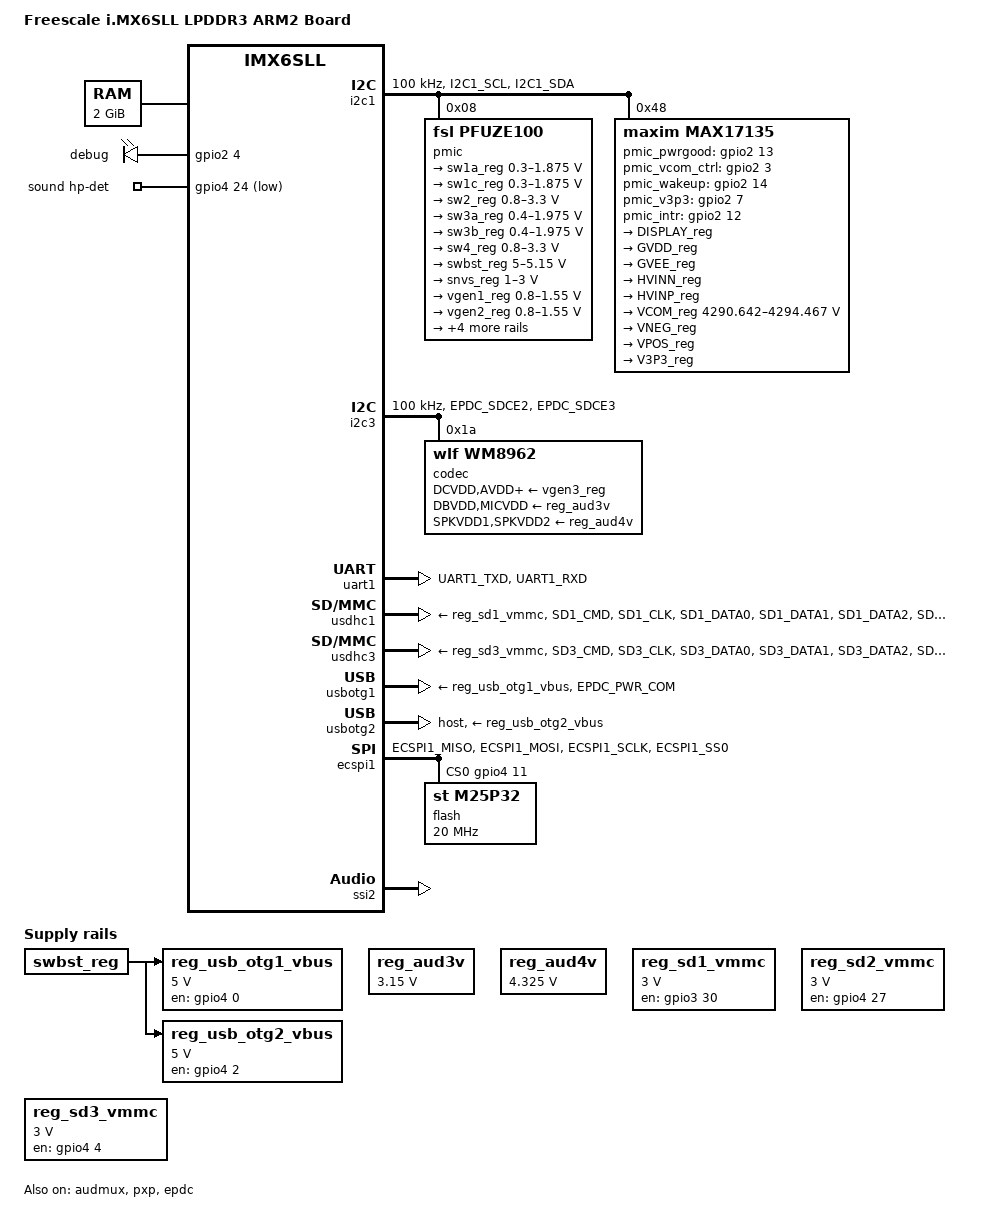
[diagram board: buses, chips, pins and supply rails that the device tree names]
/*
 * Copyright (C) 2016 Freescale Semiconductor, Inc.
 *
 * This program is free software; you can redistribute it and/or modify
 * it under the terms of the GNU General Public License version 2 as
 * published by the Free Software Foundation.
 */

/dts-v1/;

#include <dt-bindings/gpio/gpio.h>
#include <dt-bindings/input/input.h>
#include "imx6sll.dtsi"

/ {
	model = "Freescale i.MX6SLL LPDDR3 ARM2 Board";
	compatible = "fsl,imx6sll-lpddr3-arm2", "fsl,imx6sll";

	memory {
		reg = <0x80000000 0x80000000>;
	};

	leds {
		compatible = "gpio-leds";
		pinctrl-names = "default";
		pinctrl-0 = <&pinctrl_led>;

		users {
			label = "debug";
			gpios = <&gpio2 4 GPIO_ACTIVE_HIGH>;
			linux,default-trigger = "heartbeat";
		};
	};

	regulators {
		compatible = "simple-bus";
		#address-cells = <1>;
		#size-cells = <0>;

		reg_usb_otg1_vbus: regulator@0 {
			compatible = "regulator-fixed";
			reg = <0>;
			regulator-name = "usb_otg1_vbus";
			regulator-min-microvolt = <5000000>;
			regulator-max-microvolt = <5000000>;
			gpio = <&gpio4 0 GPIO_ACTIVE_HIGH>;
			enable-active-high;
			vin-supply = <&swbst_reg>;
		};

		reg_usb_otg2_vbus: regulator@1 {
			compatible = "regulator-fixed";
			reg = <1>;
			regulator-name = "usb_otg2_vbus";
			regulator-min-microvolt = <5000000>;
			regulator-max-microvolt = <5000000>;
			gpio = <&gpio4 2 GPIO_ACTIVE_HIGH>;
			enable-active-high;
			vin-supply = <&swbst_reg>;
		};

		reg_aud3v: regulator@2 {
			compatible = "regulator-fixed";
			reg = <2>;
			regulator-name = "wm8962-supply-3v15";
			regulator-min-microvolt = <3150000>;
			regulator-max-microvolt = <3150000>;
			regulator-boot-on;
		};

		reg_aud4v: regulator@3 {
			compatible = "regulator-fixed";
			reg = <3>;
			regulator-name = "wm8962-supply-4v2";
			regulator-min-microvolt = <4325000>;
			regulator-max-microvolt = <4325000>;
			regulator-boot-on;
		};

		reg_sd1_vmmc: sd1_vmmc {
			compatible = "regulator-fixed";
			regulator-name = "SD1_SPWR";
			regulator-min-microvolt = <3000000>;
			regulator-max-microvolt = <3000000>;
			gpio = <&gpio3 30 GPIO_ACTIVE_HIGH>;
			enable-active-high;
		};

		reg_sd2_vmmc: sd2_vmmc {
			compatible = "regulator-fixed";
			regulator-name = "SD2_SPWR";
			regulator-min-microvolt = <3000000>;
			regulator-max-microvolt = <3000000>;
			gpio = <&gpio4 27 GPIO_ACTIVE_HIGH>;
			enable-active-high;
		};

		reg_sd3_vmmc: sd3_vmmc {
			compatible = "regulator-fixed";
			regulator-name = "SD3_WIFI";
			regulator-min-microvolt = <3000000>;
			regulator-max-microvolt = <3000000>;
			gpio = <&gpio4 4 GPIO_ACTIVE_HIGH>;
			enable-active-high;
		};

	};

	sound {
		compatible = "fsl,imx6sl-evk-wm8962", "fsl,imx-audio-wm8962";
		model = "wm8962-audio";
		cpu-dai = <&ssi2>;
		audio-codec = <&codec>;
		audio-routing =
			"Headphone Jack", "HPOUTL",
			"Headphone Jack", "HPOUTR",
			"Ext Spk", "SPKOUTL",
			"Ext Spk", "SPKOUTR",
			"AMIC", "MICBIAS",
			"IN3R", "AMIC";
		mux-int-port = <2>;
		mux-ext-port = <3>;
		codec-master;
		hp-det-gpios = <&gpio4 24 1>;
	};
};

&audmux {
	pinctrl-names = "default";
	pinctrl-0 = <&pinctrl_audmux3>;
	status = "okay";
};

&clks {
	assigned-clocks = <&clks IMX6SLL_CLK_PLL4_AUDIO_DIV>;
	assigned-clock-rates = <393216000>;
};

&cpu0 {
	arm-supply = <&sw1a_reg>;
	soc-supply = <&sw1c_reg>;
};

&csi {
	status = "disabled";

	port {
		csi1_ep: endpoint {
			remote-endpoint = <&ov5640_ep>;
		};
	};
};

&i2c1 {
	clock-frequency = <100000>;
	pinctrl-names = "default";
	pinctrl-0 = <&pinctrl_i2c1>;
	status = "okay";

	pmic: pfuze100@08 {
		compatible = "fsl,pfuze100";
		reg = <0x08>;

		regulators {
			sw1a_reg: sw1ab {
				regulator-min-microvolt = <300000>;
				regulator-max-microvolt = <1875000>;
				regulator-boot-on;
				regulator-always-on;
				regulator-ramp-delay = <6250>;
			};

			sw1c_reg: sw1c {
				regulator-min-microvolt = <300000>;
				regulator-max-microvolt = <1875000>;
				regulator-boot-on;
				regulator-always-on;
				regulator-ramp-delay = <6250>;
			};

			sw2_reg: sw2 {
				regulator-min-microvolt = <800000>;
				regulator-max-microvolt = <3300000>;
				regulator-boot-on;
				regulator-always-on;
			};

			sw3a_reg: sw3a {
				regulator-min-microvolt = <400000>;
				regulator-max-microvolt = <1975000>;
				regulator-boot-on;
				regulator-always-on;
			};

			sw3b_reg: sw3b {
				regulator-min-microvolt = <400000>;
				regulator-max-microvolt = <1975000>;
				regulator-boot-on;
				regulator-always-on;
			};

			sw4_reg: sw4 {
				regulator-min-microvolt = <800000>;
				regulator-max-microvolt = <3300000>;
			};

			swbst_reg: swbst {
				regulator-min-microvolt = <5000000>;
				regulator-max-microvolt = <5150000>;
			};

			snvs_reg: vsnvs {
				regulator-min-microvolt = <1000000>;
				regulator-max-microvolt = <3000000>;
				regulator-boot-on;
				regulator-always-on;
			};

			vref_reg: vrefddr {
				regulator-boot-on;
				regulator-always-on;
			};

			vgen1_reg: vgen1 {
				regulator-min-microvolt = <800000>;
				regulator-max-microvolt = <1550000>;
				regulator-always-on;
			};

			vgen2_reg: vgen2 {
				regulator-min-microvolt = <800000>;
				regulator-max-microvolt = <1550000>;
			};

			vgen3_reg: vgen3 {
				regulator-min-microvolt = <1800000>;
				regulator-max-microvolt = <3300000>;
			};

			vgen4_reg: vgen4 {
				regulator-min-microvolt = <1800000>;
				regulator-max-microvolt = <3300000>;
				regulator-always-on;
			};

			vgen5_reg: vgen5 {
				regulator-min-microvolt = <1800000>;
				regulator-max-microvolt = <3300000>;
				regulator-always-on;
			};

			vgen6_reg: vgen6 {
				regulator-min-microvolt = <1800000>;
				regulator-max-microvolt = <3300000>;
				regulator-always-on;
			};
		};
	};

	max17135: max17135@48 {
		pinctrl-names = "default";
		pinctrl-0 = <&pinctrl_max17135>;
		compatible = "maxim,max17135";
		reg = <0x48>;
		status = "okay";

		vneg_pwrup = <1>;
		gvee_pwrup = <2>;
		vpos_pwrup = <10>;
		gvdd_pwrup = <12>;
		gvdd_pwrdn = <1>;
		vpos_pwrdn = <2>;
		gvee_pwrdn = <8>;
		vneg_pwrdn = <10>;
		gpio_pmic_pwrgood = <&gpio2 13 0>;
		gpio_pmic_vcom_ctrl = <&gpio2 3 0>;
		gpio_pmic_wakeup = <&gpio2 14 0>;
		gpio_pmic_v3p3 = <&gpio2 7 0>;
		gpio_pmic_intr = <&gpio2 12 0>;

		regulators {
			DISPLAY_reg: DISPLAY {
				regulator-name = "DISPLAY";
			};

			GVDD_reg: GVDD {
				/* 20v */
				regulator-name = "GVDD";
			};

			GVEE_reg: GVEE {
				/* -22v */
				regulator-name = "GVEE";
			};

			HVINN_reg: HVINN {
				/* -22v */
				regulator-name = "HVINN";
			};

			HVINP_reg: HVINP {
				/* 20v */
				regulator-name = "HVINP";
			};

			VCOM_reg: VCOM {
				regulator-name = "VCOM";
				/* 2's-compliment, -4325000 */
				regulator-min-microvolt = <0xffbe0178>;
				/* 2's-compliment, -500000 */
				regulator-max-microvolt = <0xfff85ee0>;
			};

			VNEG_reg: VNEG {
				/* -15v */
				regulator-name = "VNEG";
			};

			VPOS_reg: VPOS {
				/* 15v */
				regulator-name = "VPOS";
			};

			V3P3_reg: V3P3 {
				regulator-name = "V3P3";
			};
		};
	};
};

&i2c3 {
	clock-frequency = <100000>;
	pinctrl-names = "default";
	pinctrl-0 = <&pinctrl_i2c3>;
	status = "okay";

	codec: wm8962@1a {
		compatible = "wlf,wm8962";
		reg = <0x1a>;
		clocks = <&clks IMX6SLL_CLK_EXTERN_AUDIO>;
		DCVDD-supply = <&vgen3_reg>;
		DBVDD-supply = <&reg_aud3v>;
		AVDD-supply = <&vgen3_reg>;
		CPVDD-supply = <&vgen3_reg>;
		MICVDD-supply = <&reg_aud3v>;
		PLLVDD-supply = <&vgen3_reg>;
		SPKVDD1-supply = <&reg_aud4v>;
		SPKVDD2-supply = <&reg_aud4v>;
		amic-mono;
	};

	ov5640: ov5640@3c {
		compatible = "ovti,ov5640";
		reg = <0x3c>;
		pinctrl-names = "default";
		pinctrl-0 = <&pinctrl_csi1>;
		clocks = <&clks IMX6SLL_CLK_CSI>;
		clock-names = "csi_mclk";
		AVDD-supply = <&vgen6_reg>;  /* 2.8v */
		DVDD-supply = <&vgen2_reg>;  /* 1.5v*/
		pwn-gpios = <&gpio1 25 1>;
		rst-gpios = <&gpio1 26 0>;
		csi_id = <0>;
		mclk = <24000000>;
		mclk_source = <0>;
		status = "disabled";
		port {
			ov5640_ep: endpoint {
				remote-endpoint = <&csi1_ep>;
			};
		};
	};
};

&gpc {
	fsl,ldo-bypass = <1>;
};

&iomuxc {
	pinctrl-names = "default";
	pinctrl-0 = <&pinctrl_hog>;

	imx6sll-lpddr3-arm2 {
		pinctrl_hog: hoggrp {
			fsl,pins = <
				MX6SLL_PAD_KEY_ROW7__GPIO4_IO07 0x17059
				MX6SLL_PAD_GPIO4_IO22__GPIO4_IO22 0x17059
				MX6SLL_PAD_KEY_COL3__GPIO3_IO30	0x17059
				MX6SLL_PAD_SD2_RESET__GPIO4_IO27 0x17059
				MX6SLL_PAD_KEY_COL4__GPIO4_IO00 0x17059
				MX6SLL_PAD_REF_CLK_32K__GPIO3_IO22 0x17059 /* SD3 CD */
				MX6SLL_PAD_KEY_COL6__GPIO4_IO04 0x17059 /*SD3 RESET */
				MX6SLL_PAD_KEY_COL5__GPIO4_IO02 0x17059
				MX6SLL_PAD_GPIO4_IO24__GPIO4_IO24 0x17059 /* HP DETECT */
			>;
		};

		pinctrl_audmux3: audmux3grp {
			fsl,pins = <
				MX6SLL_PAD_AUD_TXC__AUD3_TXC		0x4130b0
				MX6SLL_PAD_AUD_TXFS__AUD3_TXFS		0x4130b0
				MX6SLL_PAD_AUD_TXD__AUD3_TXD		0x4110b0
				MX6SLL_PAD_AUD_RXD__AUD3_RXD		0x4130b0
				MX6SLL_PAD_AUD_MCLK__AUDIO_CLK_OUT	0x4130b0
			>;
		};

		pinctrl_csi1: csi1grp {
			fsl,pins = <
				MX6SLL_PAD_EPDC_GDRL__CSI_MCLK		0x1b088
				MX6SLL_PAD_EPDC_GDCLK__CSI_PIXCLK	0x1b088
				MX6SLL_PAD_EPDC_GDSP__CSI_VSYNC		0x1b088
				MX6SLL_PAD_EPDC_GDOE__CSI_HSYNC		0x1b088
				MX6SLL_PAD_EPDC_DATA02__CSI_DATA02	0x1b088
				MX6SLL_PAD_EPDC_DATA03__CSI_DATA03	0x1b088
				MX6SLL_PAD_EPDC_DATA04__CSI_DATA04	0x1b088
				MX6SLL_PAD_EPDC_DATA05__CSI_DATA05	0x1b088
				MX6SLL_PAD_EPDC_DATA06__CSI_DATA06	0x1b088
				MX6SLL_PAD_EPDC_DATA07__CSI_DATA07	0x1b088
				MX6SLL_PAD_EPDC_SDCLK__CSI_DATA08	0x1b088
				MX6SLL_PAD_EPDC_SDLE__CSI_DATA09	0x1b088
				MX6SLL_PAD_EPDC_SDSHR__GPIO1_IO26	0x80000000
				MX6SLL_PAD_EPDC_SDOE__GPIO1_IO25	0x80000000
			>;
		};

		pinctrl_led: ledgrp {
			fsl,pins = <
				MX6SLL_PAD_EPDC_VCOM1__GPIO2_IO04 0x17059
			>;
		};

                pinctrl_epdc0: epdcgrp0 {
                        fsl,pins = <
				MX6SLL_PAD_EPDC_DATA00__EPDC_DATA00	0x100b1
				MX6SLL_PAD_EPDC_DATA01__EPDC_DATA01	0x100b1
				MX6SLL_PAD_EPDC_DATA02__EPDC_DATA02	0x100b1
				MX6SLL_PAD_EPDC_DATA03__EPDC_DATA03	0x100b1
				MX6SLL_PAD_EPDC_DATA04__EPDC_DATA04	0x100b1
				MX6SLL_PAD_EPDC_DATA05__EPDC_DATA05	0x100b1
				MX6SLL_PAD_EPDC_DATA06__EPDC_DATA06	0x100b1
				MX6SLL_PAD_EPDC_DATA07__EPDC_DATA07	0x100b1
				MX6SLL_PAD_EPDC_DATA08__EPDC_DATA08	0x100b1
				MX6SLL_PAD_EPDC_DATA09__EPDC_DATA09	0x100b1
				MX6SLL_PAD_EPDC_DATA10__EPDC_DATA10	0x100b1
				MX6SLL_PAD_EPDC_DATA11__EPDC_DATA11	0x100b1
				MX6SLL_PAD_EPDC_DATA12__EPDC_DATA12	0x100b1
				MX6SLL_PAD_EPDC_DATA13__EPDC_DATA13	0x100b1
				MX6SLL_PAD_EPDC_DATA14__EPDC_DATA14	0x100b1
				MX6SLL_PAD_EPDC_DATA15__EPDC_DATA15	0x100b1
				MX6SLL_PAD_EPDC_SDCLK__EPDC_SDCLK_P	0x100b1
				MX6SLL_PAD_EPDC_SDLE__EPDC_SDLE		0x100b1
				MX6SLL_PAD_EPDC_SDOE__EPDC_SDOE		0x100b1
				MX6SLL_PAD_EPDC_SDSHR__EPDC_SDSHR	0x100b1
				MX6SLL_PAD_EPDC_SDCE0__EPDC_SDCE0	0x100b1
				MX6SLL_PAD_EPDC_GDCLK__EPDC_GDCLK	0x100b1
				MX6SLL_PAD_EPDC_GDOE__EPDC_GDOE		0x100b1
				MX6SLL_PAD_EPDC_GDRL__EPDC_GDRL		0x100b1
				MX6SLL_PAD_EPDC_GDSP__EPDC_GDSP		0x100b1
                       >;
                };

		pinctrl_max17135: max17135grp-1 {
			fsl,pins = <
				MX6SLL_PAD_EPDC_PWR_STAT__GPIO2_IO13	0x80000000  /* pwrgood */
				MX6SLL_PAD_EPDC_VCOM0__GPIO2_IO03	0x80000000  /* vcom_ctrl */
				MX6SLL_PAD_EPDC_PWR_WAKE__GPIO2_IO14	0x80000000  /* wakeup */
				MX6SLL_PAD_EPDC_PWR_CTRL0__GPIO2_IO07	0x80000000  /* v3p3 */
				MX6SLL_PAD_EPDC_PWR_IRQ__GPIO2_IO12	0x80000000  /* pwr int */
			>;
		};

		pinctrl_spdif: spdifgrp {
			fsl,pins = <
				MX6SLL_PAD_SD2_DATA4__SPDIF_OUT 0x4130b0
			>;
		};

		pinctrl_uart1: uart1grp {
			fsl,pins = <
				MX6SLL_PAD_UART1_TXD__UART1_DCE_TX 0x1b0b1
				MX6SLL_PAD_UART1_RXD__UART1_DCE_RX 0x1b0b1
			>;
		};

		pinctrl_usdhc1: usdhc1grp {
			fsl,pins = <
				MX6SLL_PAD_SD1_CMD__SD1_CMD	0x17059
				MX6SLL_PAD_SD1_CLK__SD1_CLK	0x17059
				MX6SLL_PAD_SD1_DATA0__SD1_DATA0	0x17059
				MX6SLL_PAD_SD1_DATA1__SD1_DATA1	0x17059
				MX6SLL_PAD_SD1_DATA2__SD1_DATA2	0x17059
				MX6SLL_PAD_SD1_DATA3__SD1_DATA3	0x17059
			>;
		};

		pinctrl_usdhc1_100mhz: usdhc1grp_100mhz {
			fsl,pins = <
				MX6SLL_PAD_SD1_CMD__SD1_CMD	0x170b9
				MX6SLL_PAD_SD1_CLK__SD1_CLK	0x170b9
				MX6SLL_PAD_SD1_DATA0__SD1_DATA0	0x170b9
				MX6SLL_PAD_SD1_DATA1__SD1_DATA1	0x170b9
				MX6SLL_PAD_SD1_DATA2__SD1_DATA2	0x170b9
				MX6SLL_PAD_SD1_DATA3__SD1_DATA3	0x170b9
			>;
		};

		pinctrl_usdhc1_200mhz: usdhc1grp_200mhz {
			fsl,pins = <
				MX6SLL_PAD_SD1_CMD__SD1_CMD	0x170f9
				MX6SLL_PAD_SD1_CLK__SD1_CLK	0x170f9
				MX6SLL_PAD_SD1_DATA0__SD1_DATA0	0x170f9
				MX6SLL_PAD_SD1_DATA1__SD1_DATA1	0x170f9
				MX6SLL_PAD_SD1_DATA2__SD1_DATA2	0x170f9
				MX6SLL_PAD_SD1_DATA3__SD1_DATA3	0x170f9
			>;
		};

		pinctrl_usdhc2: usdhc2grp {
			fsl,pins = <
				MX6SLL_PAD_SD2_CMD__SD2_CMD	0x17059
				MX6SLL_PAD_SD2_CLK__SD2_CLK	0x17059
				MX6SLL_PAD_SD2_DATA0__SD2_DATA0 0x17059
				MX6SLL_PAD_SD2_DATA1__SD2_DATA1	0x17059
				MX6SLL_PAD_SD2_DATA2__SD2_DATA2	0x17059
				MX6SLL_PAD_SD2_DATA3__SD2_DATA3	0x17059
				MX6SLL_PAD_SD2_DATA4__SD2_DATA4	0x17059
				MX6SLL_PAD_SD2_DATA5__SD2_DATA5	0x17059
				MX6SLL_PAD_SD2_DATA6__SD2_DATA6	0x17059
				MX6SLL_PAD_SD2_DATA7__SD2_DATA7	0x17059
			>;
		};

		pinctrl_usdhc3: usdhc3grp {
			fsl,pins = <
				MX6SLL_PAD_SD3_CMD__SD3_CMD	0x17059
				MX6SLL_PAD_SD3_CLK__SD3_CLK	0x17059
				MX6SLL_PAD_SD3_DATA0__SD3_DATA0	0x17059
				MX6SLL_PAD_SD3_DATA1__SD3_DATA1	0x17059
				MX6SLL_PAD_SD3_DATA2__SD3_DATA2	0x17059
				MX6SLL_PAD_SD3_DATA3__SD3_DATA3	0x17059
			>;
		};

		pinctrl_usdhc3_100mhz: usdhc3grp_100mhz {
			fsl,pins = <
				MX6SLL_PAD_SD3_CMD__SD3_CMD	0x170b9
				MX6SLL_PAD_SD3_CLK__SD3_CLK	0x170b9
				MX6SLL_PAD_SD3_DATA0__SD3_DATA0	0x170b9
				MX6SLL_PAD_SD3_DATA1__SD3_DATA1	0x170b9
				MX6SLL_PAD_SD3_DATA2__SD3_DATA2	0x170b9
				MX6SLL_PAD_SD3_DATA3__SD3_DATA3	0x170b9
			>;
		};

		pinctrl_usdhc3_200mhz: usdhc3grp_200mhz {
			fsl,pins = <
				MX6SLL_PAD_SD3_CMD__SD3_CMD	0x170f9
				MX6SLL_PAD_SD3_CLK__SD3_CLK	0x170f9
				MX6SLL_PAD_SD3_DATA0__SD3_DATA0	0x170f9
				MX6SLL_PAD_SD3_DATA1__SD3_DATA1	0x170f9
				MX6SLL_PAD_SD3_DATA2__SD3_DATA2	0x170f9
				MX6SLL_PAD_SD3_DATA3__SD3_DATA3	0x170f9
			>;
		};

		pinctrl_usbotg1: usbotg1grp {
			fsl,pins = <
				MX6SLL_PAD_EPDC_PWR_COM__USB_OTG1_ID 0x17059
			>;
		};

		pinctrl_i2c1: i2c1grp {
			fsl,pins = <
				MX6SLL_PAD_I2C1_SCL__I2C1_SCL	 0x4001b8b1
				MX6SLL_PAD_I2C1_SDA__I2C1_SDA	 0x4001b8b1
			>;
		};

		pinctrl_i2c3: i2c3grp {
			fsl,pins = <
				MX6SLL_PAD_EPDC_SDCE2__I2C3_SCL  0x4001b8b1
				MX6SLL_PAD_EPDC_SDCE3__I2C3_SDA  0x4001b8b1
			>;
		};

		pinctrl_ecspi1: ecspi1grp {
			fsl,pins = <
				MX6SLL_PAD_ECSPI1_MISO__ECSPI1_MISO	 0x100b1
				MX6SLL_PAD_ECSPI1_MOSI__ECSPI1_MOSI	 0x100b1
				MX6SLL_PAD_ECSPI1_SCLK__ECSPI1_SCLK	 0x100b1
				MX6SLL_PAD_ECSPI1_SS0__GPIO4_IO11	 0x100b1
			>;
		};
	};
};

&pxp {
	status = "okay";
};

&uart1 {
	pinctrl-names = "default";
	pinctrl-0 = <&pinctrl_uart1>;
	status = "okay";
};

&usdhc1 {
	pinctrl-names = "default", "state_100mhz", "state_200mhz";
	pinctrl-0 = <&pinctrl_usdhc1>;
	pinctrl-1 = <&pinctrl_usdhc1_100mhz>;
	pinctrl-2 = <&pinctrl_usdhc1_200mhz>;
	cd-gpios = <&gpio4 7 GPIO_ACTIVE_LOW>;
	wp-gpios = <&gpio4 22 GPIO_ACTIVE_HIGH>;
	keep-power-in-suspend;
	enable-sdio-wakeup;
	vmmc-supply = <&reg_sd1_vmmc>;
	status = "okay";
};

&usdhc3 {
	pinctrl-names = "default", "state_100mhz", "state_200mhz";
	pinctrl-0 = <&pinctrl_usdhc3>;
	pinctrl-1 = <&pinctrl_usdhc3_100mhz>;
	pinctrl-2 = <&pinctrl_usdhc3_200mhz>;
	cd-gpios = <&gpio3 22 GPIO_ACTIVE_LOW>;
	keep-power-in-suspend;
	enable-sdio-wakeup;
	vmmc-supply = <&reg_sd3_vmmc>;
	status = "okay";
};

&usbotg1 {
	vbus-supply = <&reg_usb_otg1_vbus>;
	pinctrl-names = "default";
	pinctrl-0 = <&pinctrl_usbotg1>;
	disable-over-current;
	srp-disable;
	hnp-disable;
	adp-disable;
	status = "okay";
};

&usbotg2 {
	vbus-supply = <&reg_usb_otg2_vbus>;
	dr_mode = "host";
	disable-over-current;
	status = "okay";
};

&ecspi1 {
	fsl,spi-num-chipselects = <1>;
	cs-gpios = <&gpio4 11 0>;
	pinctrl-names = "default";
	pinctrl-0 = <&pinctrl_ecspi1>;
	status = "okay";

	#address-cells = <1>;
	#size-cells = <0>;

	flash: m25p80@0 {
		compatible = "st,m25p32";
		spi-max-frequency = <20000000>;
		reg = <0>;
	};
};

&epdc {
	pinctrl-names = "default";
	pinctrl-0 = <&pinctrl_epdc0>;
	V3P3-supply = <&V3P3_reg>;
	VCOM-supply = <&VCOM_reg>;
	DISPLAY-supply = <&DISPLAY_reg>;
	status = "okay";
};

&ssi2 {
	status = "okay";
};
